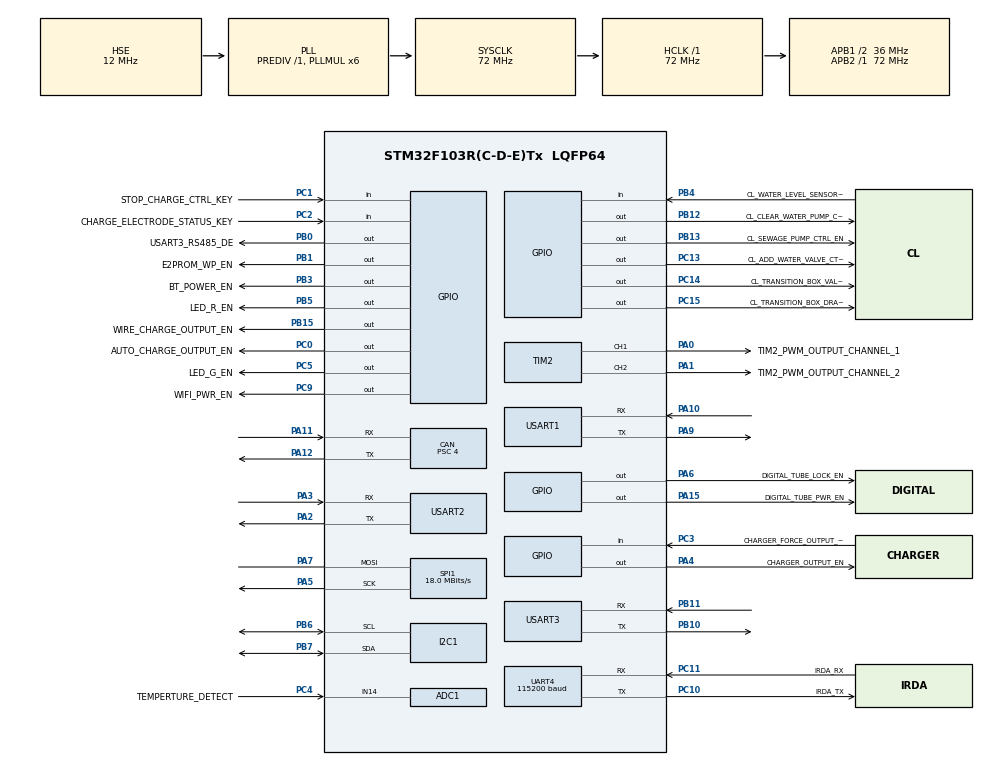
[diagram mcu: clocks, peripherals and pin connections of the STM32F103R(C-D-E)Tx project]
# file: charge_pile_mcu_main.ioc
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ADC1.Channel-0\#ChannelRegularConversion=ADC_CHANNEL_14
ADC1.NbrOfConversionFlag=1
ADC1.Rank-0\#ChannelRegularConversion=1
ADC1.SamplingTime-0\#ChannelRegularConversion=ADC_SAMPLETIME_1CYCLE_5
ADC1.master=1
CAN.BS1=CAN_BS1_9TQ
CAN.BS2=CAN_BS2_8TQ
CAN.CalculateBaudRate=500000
CAN.CalculateTimeBit=1999.99
CAN.CalculateTimeQuantum=111.11111111111111
CAN.Prescaler=4
Dma.Request0=UART4_RX
Dma.Request1=USART2_RX
Dma.Request2=USART2_TX
Dma.Request3=UART4_TX
Dma.Request4=USART3_RX
Dma.Request5=USART3_TX
Dma.UART4_RX.0.Direction=DMA_PERIPH_TO_MEMORY
Dma.UART4_RX.0.Instance=DMA2_Channel3
Dma.UART4_RX.0.MemDataAlignment=DMA_MDATAALIGN_BYTE
Dma.UART4_RX.0.MemInc=DMA_MINC_ENABLE
Dma.UART4_RX.0.Mode=DMA_CIRCULAR
Dma.UART4_RX.0.PeriphDataAlignment=DMA_PDATAALIGN_BYTE
Dma.UART4_RX.0.PeriphInc=DMA_PINC_DISABLE
Dma.UART4_RX.0.Priority=DMA_PRIORITY_VERY_HIGH
Dma.UART4_TX.3.Direction=DMA_MEMORY_TO_PERIPH
Dma.UART4_TX.3.Instance=DMA2_Channel5
Dma.UART4_TX.3.MemDataAlignment=DMA_MDATAALIGN_BYTE
Dma.UART4_TX.3.MemInc=DMA_MINC_ENABLE
Dma.UART4_TX.3.Mode=DMA_NORMAL
Dma.UART4_TX.3.PeriphDataAlignment=DMA_PDATAALIGN_BYTE
Dma.UART4_TX.3.PeriphInc=DMA_PINC_DISABLE
Dma.UART4_TX.3.Priority=DMA_PRIORITY_HIGH
Dma.USART2_RX.1.Direction=DMA_PERIPH_TO_MEMORY
Dma.USART2_RX.1.Instance=DMA1_Channel6
Dma.USART2_RX.1.MemDataAlignment=DMA_MDATAALIGN_BYTE
Dma.USART2_RX.1.MemInc=DMA_MINC_ENABLE
Dma.USART2_RX.1.Mode=DMA_NORMAL
Dma.USART2_RX.1.PeriphDataAlignment=DMA_PDATAALIGN_BYTE
Dma.USART2_RX.1.PeriphInc=DMA_PINC_DISABLE
Dma.USART2_RX.1.Priority=DMA_PRIORITY_VERY_HIGH
Dma.USART2_TX.2.Direction=DMA_MEMORY_TO_PERIPH
Dma.USART2_TX.2.Instance=DMA1_Channel7
Dma.USART2_TX.2.MemDataAlignment=DMA_MDATAALIGN_BYTE
Dma.USART2_TX.2.MemInc=DMA_MINC_ENABLE
Dma.USART2_TX.2.Mode=DMA_NORMAL
Dma.USART2_TX.2.PeriphDataAlignment=DMA_PDATAALIGN_BYTE
Dma.USART2_TX.2.PeriphInc=DMA_PINC_DISABLE
Dma.USART2_TX.2.Priority=DMA_PRIORITY_VERY_HIGH
Dma.USART3_RX.4.Direction=DMA_PERIPH_TO_MEMORY
Dma.USART3_RX.4.Instance=DMA1_Channel3
Dma.USART3_RX.4.MemDataAlignment=DMA_MDATAALIGN_BYTE
Dma.USART3_RX.4.MemInc=DMA_MINC_ENABLE
Dma.USART3_RX.4.Mode=DMA_CIRCULAR
Dma.USART3_RX.4.PeriphDataAlignment=DMA_PDATAALIGN_BYTE
Dma.USART3_RX.4.PeriphInc=DMA_PINC_DISABLE
Dma.USART3_RX.4.Priority=DMA_PRIORITY_HIGH
Dma.USART3_TX.5.Direction=DMA_MEMORY_TO_PERIPH
Dma.USART3_TX.5.Instance=DMA1_Channel2
Dma.USART3_TX.5.MemDataAlignment=DMA_MDATAALIGN_BYTE
Dma.USART3_TX.5.MemInc=DMA_MINC_ENABLE
Dma.USART3_TX.5.Mode=DMA_NORMAL
Dma.USART3_TX.5.PeriphDataAlignment=DMA_PDATAALIGN_BYTE
Dma.USART3_TX.5.PeriphInc=DMA_PINC_DISABLE
Dma.USART3_TX.5.Priority=DMA_PRIORITY_HIGH
FREERTOS.INCLUDE_xTaskGetCurrentTaskHandle=1
FREERTOS.Tasks01=defaultTask,8,1024,StartDefaultTask,As weak,NULL,Dynamic,NULL,NULL;task_charge,8,256,task_charge_run,As weak,NULL,Static,task_chargeBuffer,task_chargeControlBlock;task_led,8,256,task_led_run,As weak,NULL,Static,task_ledBuffer,task_ledControlBlock;task_digital_tu,8,256,task_digital_tube_run,As weak,NULL,Static,task_digital_tuBuffer,task_digital_tuControlBlock;task_battery,8,256,task_battery_run,As weak,NULL,Static,task_batteryBuffer,task_batteryControlBlock;task_temp,8,256,task_temp_run,As weak,NULL,Static,task_tempBuffer,task_tempControlBlock;task_shell,8,512,task_shell_run,As weak,NULL,Static,task_shellBuffer,task_shellControlBlock;task_ir_38k,8,256,task_ir_38k_run,As weak,NULL,Static,task_ir_38kBuffer,task_ir_38kControlBlock;task_key,8,256,task_key_run,As weak,NULL,Static,task_keyBuffer,task_keyControlBlock;task_workstation_clean,8,256,task_workstation_clean_run,As weak,NULL,Static,task_workstation_cleanBuffer,task_workstation_cleanControlBlock;task_test_mode,8,256,task_test_mode_run,As weak,NULL,Static,task_test_modeBuffer,task_test_modeControlBlock
FREERTOS.configGENERATE_RUN_TIME_STATS=1
FREERTOS.configMAX_TASK_NAME_LEN=32
FREERTOS.configTOTAL_HEAP_SIZE=15000
FREERTOS.configUSE_STATS_FORMATTING_FUNCTIONS=1
IWDG.Prescaler=IWDG_PRESCALER_64
IWDG.Reload=999
Mcu.Family=STM32F1
Mcu.Name=STM32F103R(C-D-E)Tx
Mcu.Package=LQFP64
NVIC.DMA1_Channel2_IRQn=true\:5\:0\:false\:false\:true\:true\:false\:true
NVIC.DMA1_Channel3_IRQn=true\:5\:0\:false\:false\:true\:true\:false\:true
NVIC.DMA1_Channel6_IRQn=true\:5\:0\:false\:false\:true\:true\:false\:true
NVIC.DMA1_Channel7_IRQn=true\:5\:0\:false\:false\:true\:true\:false\:true
NVIC.DMA2_Channel3_IRQn=true\:5\:0\:false\:false\:true\:true\:false\:true
NVIC.DMA2_Channel4_5_IRQn=true\:5\:0\:false\:false\:true\:true\:false\:true
NVIC.PriorityGroup=NVIC_PRIORITYGROUP_4
NVIC.TIM1_UP_IRQn=true\:5\:0\:false\:false\:true\:true\:true\:true
NVIC.TIM4_IRQn=true\:5\:0\:false\:false\:true\:true\:true\:true
NVIC.TIM5_IRQn=true\:15\:0\:true\:false\:true\:false\:false\:true
NVIC.TIM6_IRQn=true\:5\:0\:false\:false\:true\:true\:true\:true
NVIC.TIM7_IRQn=true\:5\:0\:false\:false\:true\:true\:true\:true
NVIC.TimeBase=TIM5_IRQn
NVIC.TimeBaseIP=TIM5
NVIC.UART4_IRQn=true\:5\:0\:false\:false\:true\:true\:true\:true
NVIC.USART1_IRQn=true\:5\:0\:false\:false\:true\:true\:true\:true
NVIC.USART2_IRQn=true\:5\:0\:false\:false\:true\:true\:true\:true
NVIC.USART3_IRQn=true\:5\:0\:false\:false\:true\:true\:true\:true
NVIC.USB_LP_CAN1_RX0_IRQn=true\:5\:0\:false\:false\:true\:true\:true\:true
PA0-WKUP.GPIO_Label=TIM2_PWM_OUTPUT_CHANNEL_1
PA0-WKUP.Signal=S_TIM2_CH1_ETR
PA1.GPIO_Label=TIM2_PWM_OUTPUT_CHANNEL_2
PA1.Signal=S_TIM2_CH2
PA10.Mode=Asynchronous
PA10.Signal=USART1_RX
PA11.Mode=CAN_Activate
PA11.Signal=CAN_RX
PA12.Mode=CAN_Activate
PA12.Signal=CAN_TX
PA13.Mode=Serial_Wire
PA13.Signal=SYS_JTMS-SWDIO
PA14.Mode=Serial_Wire
PA14.Signal=SYS_JTCK-SWCLK
PA15.GPIO_Label=DIGITAL_TUBE_PWR_EN
PA15.Signal=GPIO_Output
PA2.Mode=Asynchronous
PA2.Signal=USART2_TX
PA3.Mode=Asynchronous
PA3.Signal=USART2_RX
PA4.GPIO_Label=CHARGER_OUTPUT_EN
PA4.Signal=GPIO_Output
PA5.Mode=Simplex_Bidirectional_Master
PA5.Signal=SPI1_SCK
PA6.GPIO_Label=DIGITAL_TUBE_LOCK_EN
PA6.Signal=GPIO_Output
PA7.Mode=Simplex_Bidirectional_Master
PA7.Signal=SPI1_MOSI
PA9.Mode=Asynchronous
PA9.Signal=USART1_TX
PB0.GPIO_Label=USART3_RS485_DE
PB0.Signal=GPIO_Output
PB1.GPIO_Label=E2PROM_WP_EN
PB1.Signal=GPIO_Output
PB10.Mode=Asynchronous
PB10.Signal=USART3_TX
PB11.Mode=Asynchronous
PB11.Signal=USART3_RX
PB12.GPIO_Label=CL_CLEAR_WATER_PUMP_CTRL_EN
PB12.GPIO_PuPd=GPIO_PULLDOWN
PB12.Signal=GPIO_Output
PB13.GPIO_Label=CL_SEWAGE_PUMP_CTRL_EN
PB13.GPIO_PuPd=GPIO_PULLDOWN
PB13.Signal=GPIO_Output
PB15.GPIO_Label=WIRE_CHARGE_OUTPUT_EN
PB15.Signal=GPIO_Output
PB3.GPIO_Label=BT_POWER_EN
PB3.PinState=GPIO_PIN_SET
PB3.Signal=GPIO_Output
PB4.GPIO_Label=CL_WATER_LEVEL_SENSOR_STATUS_DETECT
PB4.GPIO_PuPd=GPIO_PULLUP
PB4.Signal=GPIO_Input
PB5.GPIO_Label=LED_R_EN
PB5.Signal=GPIO_Output
PB6.Mode=I2C
PB6.Signal=I2C1_SCL
PB7.Mode=I2C
PB7.Signal=I2C1_SDA
PC0.GPIO_Label=AUTO_CHARGE_OUTPUT_EN
PC0.PinState=GPIO_PIN_SET
PC0.Signal=GPIO_Output
PC1.GPIO_Label=STOP_CHARGE_CTRL_KEY
PC1.Signal=GPIO_Input
PC10.GPIO_Label=IRDA_TX
PC10.Mode=IrDA
PC10.Signal=UART4_TX
PC11.GPIO_Label=IRDA_RX
PC11.Mode=IrDA
PC11.Signal=UART4_RX
PC13-TAMPER-RTC.GPIO_Label=CL_ADD_WATER_VALVE_CTRL_EN
PC13-TAMPER-RTC.GPIO_PuPd=GPIO_NOPULL
PC13-TAMPER-RTC.Signal=GPIO_Output
PC14-OSC32_IN.GPIO_Label=CL_TRANSITION_BOX_VALVE_CTRLL_EN
PC14-OSC32_IN.Signal=GPIO_Output
PC15-OSC32_OUT.GPIO_Label=CL_TRANSITION_BOX_DRAINAGE_PUMP_CTRL_EN
PC15-OSC32_OUT.Signal=GPIO_Output
PC2.GPIO_Label=CHARGE_ELECTRODE_STATUS_KEY
PC2.Signal=GPIO_Input
PC3.GPIO_Label=CHARGER_FORCE_OUTPUT_KEY
PC3.Signal=GPIO_Input
PC4.GPIO_Label=TEMPERTURE_DETECT
PC4.Signal=ADCx_IN14
PC5.GPIO_Label=LED_G_EN
PC5.Signal=GPIO_Output
PC9.GPIO_Label=WIFI_PWR_EN
PC9.Signal=GPIO_Output
PD0-OSC_IN.Mode=HSE-External-Oscillator
PD0-OSC_IN.Signal=RCC_OSC_IN
PD1-OSC_OUT.Mode=HSE-External-Oscillator
PD1-OSC_OUT.Signal=RCC_OSC_OUT
ProjectManager.HeapSize=0x200
ProjectManager.StackSize=0x200
ProjectManager.TargetToolchain=Makefile
RCC.ADCPresc=RCC_ADCPCLK2_DIV6
RCC.AHBFreq_Value=72000000
RCC.APB1CLKDivider=RCC_HCLK_DIV2
RCC.APB1Freq_Value=36000000
RCC.APB1TimFreq_Value=72000000
RCC.APB2Freq_Value=72000000
RCC.APB2TimFreq_Value=72000000
RCC.HCLKFreq_Value=72000000
RCC.HSE_VALUE=12000000
RCC.PLLMUL=RCC_PLL_MUL6
RCC.PLLSourceVirtual=RCC_PLLSOURCE_HSE
RCC.SYSCLKFreq_VALUE=72000000
RCC.SYSCLKSource=RCC_SYSCLKSOURCE_PLLCLK
RCC.USBFreq_Value=72000000
RTC.Date=24
RTC.Month=RTC_MONTH_SEPTEMBER
RTC.WeekDay=RTC_WEEKDAY_FRIDAY
RTC.Year=21
SH.ADCx_IN14.0=ADC1_IN14,IN14
SH.S_TIM2_CH1_ETR.0=TIM2_CH1,PWM Generation1 CH1
SH.S_TIM2_CH2.0=TIM2_CH2,PWM Generation2 CH2
SPI1.BaudRatePrescaler=SPI_BAUDRATEPRESCALER_4
SPI1.CalculateBaudRate=18.0 MBits/s
SPI1.Direction=SPI_DIRECTION_1LINE
SPI1.Mode=SPI_MODE_MASTER
SPI1.VirtualType=VM_MASTER
TIM1.AutoReloadPreload=TIM_AUTORELOAD_PRELOAD_ENABLE
TIM1.Period=5000 - 1
TIM1.Prescaler=72 - 1
TIM2.AutoReloadPreload=TIM_AUTORELOAD_PRELOAD_ENABLE
TIM2.Channel-PWM\ Generation1\ CH1=TIM_CHANNEL_1
TIM2.Channel-PWM\ Generation2\ CH2=TIM_CHANNEL_2
TIM2.Period=((72000 / 38) - 1)
TIM2.Pulse-PWM\ Generation1\ CH1=631
TIM2.Pulse-PWM\ Generation2\ CH2=631
TIM4.AutoReloadPreload=TIM_AUTORELOAD_PRELOAD_ENABLE
TIM4.Channel-Output\ Compare1\ No\ Output=TIM_CHANNEL_1
TIM4.Channel-Output\ Compare2\ No\ Output=TIM_CHANNEL_2
TIM4.OC2Preload=DISABLE
TIM4.Period=1000
TIM4.Prescaler=72-1
TIM4.Pulse-Output\ Compare1\ No\ Output=100
TIM4.Pulse-Output\ Compare2\ No\ Output=100
TIM6.AutoReloadPreload=TIM_AUTORELOAD_PRELOAD_ENABLE
TIM6.Period=500-1
TIM6.Prescaler=72-1
TIM7.AutoReloadPreload=TIM_AUTORELOAD_PRELOAD_ENABLE
TIM7.Period=500-1
TIM7.Prescaler=72 - 1
UART4.BaudRate=115200
UART4.VirtualMode=IrDA
USART1.VirtualMode=VM_ASYNC
USART2.VirtualMode=VM_ASYNC
USART3.VirtualMode=VM_ASYNC
VP_CRC_VS_CRC.Mode=CRC_Activate
VP_FREERTOS_VS_CMSIS_V2.Mode=CMSIS_V2
VP_IWDG_VS_IWDG.Mode=IWDG_Activate
VP_RTC_No_RTC_Output.Mode=RTC_OUT_NO
VP_RTC_VS_RTC_Activate.Mode=RTC_Enabled
VP_RTC_VS_RTC_Calendar.Mode=RTC_Calendar
VP_SYS_VS_tim5.Mode=TIM5
VP_TIM1_VS_ClockSourceINT.Mode=Internal
VP_TIM4_VS_no_output1.Mode=Output Compare1 No Output
VP_TIM4_VS_no_output2.Mode=Output Compare2 No Output
VP_TIM6_VS_ClockSourceINT.Mode=Enable_Timer
VP_TIM7_VS_ClockSourceINT.Mode=Enable_Timer
board=custom

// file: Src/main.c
/* USER CODE BEGIN Header */
/**
 ******************************************************************************
 * @file           : main.c
 * @brief          : Main program body
 ******************************************************************************
 * @attention
 *
 * <h2><center>&copy; Copyright (c) 2021 STMicroelectronics.
 * All rights reserved.</center></h2>
 *
 * This software component is licensed by ST under Ultimate Liberty license
 * SLA0044, the "License"; You may not use this file except in compliance with
 * the License. You may obtain a copy of the License at:
 *                             www.st.com/SLA0044
 *
 ******************************************************************************
 */
/* USER CODE END Header */
#include "main.h"
#include "cmsis_os.h"
#include "adc.h"
#include "can.h"
#include "crc.h"
#include "dma.h"
#include "i2c.h"
#include "iwdg.h"
#include "rtc.h"
#include "spi.h"
#include "tim.h"
#include "usart.h"
#include "gpio.h"

/* USER CODE BEGIN Includes */
#include "app.h"
#include "drv_tim.h"
/* USER CODE END Includes */

void SystemClock_Config(void);
void MX_FREERTOS_Init(void);

int main(void) {

    /* MCU
     * Configuration--------------------------------------------------------*/

    /* Reset of all peripherals, Initializes the Flash interface and the
     * Systick. */
    HAL_Init();

    /* Configure the system clock */
    SystemClock_Config();

    /* USER CODE BEGIN SysInit */
#ifdef IAP
    SCB->VTOR = FLASH_BASE | 0x00008200;
    __set_FAULTMASK(0);
    __enable_irq();
#endif
    /* USER CODE END SysInit */

    /* Initialize all configured peripherals */
    MX_GPIO_Init();
    MX_DMA_Init();
    MX_ADC1_Init();
    MX_CAN_Init();
    MX_RTC_Init();
    MX_SPI1_Init();
    MX_TIM1_Init();
    MX_TIM7_Init();
    MX_UART4_IRDA_Init();
    MX_USART1_UART_Init();
    MX_CRC_Init();
    MX_I2C1_Init();
    MX_TIM2_Init();
    MX_TIM6_Init();
    MX_USART2_UART_Init();
    // MX_IWDG_Init();
    MX_TIM4_Init();
    MX_USART3_UART_Init();
    /* USER CODE BEGIN 2 */
    app_init();
    /* USER CODE END 2 */

    /* Init scheduler */
    osKernelInitialize(); /* Call init function for freertos objects (in
                             freertos.c) */
    MX_FREERTOS_Init();
    /* Start scheduler */
    osKernelStart();

    /* We should never get here as control is now taken by the scheduler */
    /* Infinite loop */
    while (1) {

    }
}

void SystemClock_Config(void) {
    RCC_OscInitTypeDef RCC_OscInitStruct = {0};
    RCC_ClkInitTypeDef RCC_ClkInitStruct = {0};
    RCC_PeriphCLKInitTypeDef PeriphClkInit = {0};

    /** Initializes the RCC Oscillators according to the specified parameters
     * in the RCC_OscInitTypeDef structure.
     */
    RCC_OscInitStruct.OscillatorType =
        RCC_OSCILLATORTYPE_LSI | RCC_OSCILLATORTYPE_HSE;
    RCC_OscInitStruct.HSEState = RCC_HSE_ON;
    RCC_OscInitStruct.HSEPredivValue = RCC_HSE_PREDIV_DIV1;
    RCC_OscInitStruct.HSIState = RCC_HSI_ON;
    RCC_OscInitStruct.LSIState = RCC_LSI_ON;
    RCC_OscInitStruct.PLL.PLLState = RCC_PLL_ON;
    RCC_OscInitStruct.PLL.PLLSource = RCC_PLLSOURCE_HSE;
    RCC_OscInitStruct.PLL.PLLMUL = RCC_PLL_MUL6;
    if (HAL_RCC_OscConfig(&RCC_OscInitStruct) != HAL_OK) {
        Error_Handler();
    }
    /** Initializes the CPU, AHB and APB buses clocks
     */
    RCC_ClkInitStruct.ClockType = RCC_CLOCKTYPE_HCLK | RCC_CLOCKTYPE_SYSCLK |
                                  RCC_CLOCKTYPE_PCLK1 | RCC_CLOCKTYPE_PCLK2;
    RCC_ClkInitStruct.SYSCLKSource = RCC_SYSCLKSOURCE_PLLCLK;
    RCC_ClkInitStruct.AHBCLKDivider = RCC_SYSCLK_DIV1;
    RCC_ClkInitStruct.APB1CLKDivider = RCC_HCLK_DIV2;
    RCC_ClkInitStruct.APB2CLKDivider = RCC_HCLK_DIV1;

    if (HAL_RCC_ClockConfig(&RCC_ClkInitStruct, FLASH_LATENCY_2) != HAL_OK) {
        Error_Handler();
    }
    PeriphClkInit.PeriphClockSelection = RCC_PERIPHCLK_RTC | RCC_PERIPHCLK_ADC;
    PeriphClkInit.RTCClockSelection = RCC_RTCCLKSOURCE_LSI;
    PeriphClkInit.AdcClockSelection = RCC_ADCPCLK2_DIV6;
    if (HAL_RCCEx_PeriphCLKConfig(&PeriphClkInit) != HAL_OK) {
        Error_Handler();
    }
}

void HAL_TIM_PeriodElapsedCallback(TIM_HandleTypeDef *htim) {
    if (htim->Instance == TIM5) {
        HAL_IncTick();
    }
    /* USER CODE BEGIN Callback 1 */
    MX_HAL_TIM_PeriodElapsedCallback(htim);
    /* USER CODE END Callback 1 */
}

void Error_Handler(void) {
    /* USER CODE BEGIN Error_Handler_Debug */
    /* User can add his own implementation to report the HAL error return state
     */
    __disable_irq();
    while (1) {}
    /* USER CODE END Error_Handler_Debug */
}

#ifdef USE_FULL_ASSERT
/**
 * @brief  Reports the name of the source file and the source line number
 *         where the assert_param error has occurred.
 * @param  file: pointer to the source file name
 * @param  line: assert_param error line source number
 * @retval None
 */
void assert_failed(uint8_t *file, uint32_t line) {
    /* USER CODE BEGIN 6 */
    /* User can add his own implementation to report the file name and line
       number, ex: printf("Wrong parameters value: file %s on line %d\r\n",
       file, line) */
    /* USER CODE END 6 */
}
#endif /* USE_FULL_ASSERT */

/************************ (C) COPYRIGHT STMicroelectronics *****END OF FILE****/

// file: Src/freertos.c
/* USER CODE BEGIN Header */
/**
 ******************************************************************************
 * File Name          : freertos.c
 * Description        : Code for freertos applications
 ******************************************************************************
 * @attention
 *
 * <h2><center>&copy; Copyright (c) 2021 STMicroelectronics.
 * All rights reserved.</center></h2>
 *
 * This software component is licensed by ST under Ultimate Liberty license
 * SLA0044, the "License"; You may not use this file except in compliance with
 * the License. You may obtain a copy of the License at:
 *                             www.st.com/SLA0044
 *
 ******************************************************************************
 */
/* USER CODE END Header */

#include "FreeRTOS.h"
#include "task.h"
#include "main.h"
#include "cmsis_os.h"

typedef StaticTask_t osStaticThreadDef_t;

/* Definitions for defaultTask */
osThreadId_t defaultTaskHandle;
const osThreadAttr_t defaultTask_attributes = {
    .name = "defaultTask",
    .stack_size = 1024 * 4,
    .priority = (osPriority_t) osPriorityLow,
};
/* Definitions for task_charge */
osThreadId_t task_chargeHandle;
uint32_t task_chargeBuffer[256];
osStaticThreadDef_t task_chargeControlBlock;
const osThreadAttr_t task_charge_attributes = {
    .name = "task_charge",
    .cb_mem = &task_chargeControlBlock,
    .cb_size = sizeof(task_chargeControlBlock),
    .stack_mem = &task_chargeBuffer[0],
    .stack_size = sizeof(task_chargeBuffer),
    .priority = (osPriority_t) osPriorityLow,
};
/* Definitions for task_led */
osThreadId_t task_ledHandle;
uint32_t task_ledBuffer[256];
osStaticThreadDef_t task_ledControlBlock;
const osThreadAttr_t task_led_attributes = {
    .name = "task_led",
    .cb_mem = &task_ledControlBlock,
    .cb_size = sizeof(task_ledControlBlock),
    .stack_mem = &task_ledBuffer[0],
    .stack_size = sizeof(task_ledBuffer),
    .priority = (osPriority_t) osPriorityLow,
};
/* Definitions for task_digital_tu */
osThreadId_t task_digital_tuHandle;
uint32_t task_digital_tuBuffer[256];
osStaticThreadDef_t task_digital_tuControlBlock;
const osThreadAttr_t task_digital_tu_attributes = {
    .name = "task_digital_tu",
    .cb_mem = &task_digital_tuControlBlock,
    .cb_size = sizeof(task_digital_tuControlBlock),
    .stack_mem = &task_digital_tuBuffer[0],
    .stack_size = sizeof(task_digital_tuBuffer),
    .priority = (osPriority_t) osPriorityLow,
};
/* Definitions for task_battery */
osThreadId_t task_batteryHandle;
uint32_t task_batteryBuffer[256];
osStaticThreadDef_t task_batteryControlBlock;
const osThreadAttr_t task_battery_attributes = {
    .name = "task_battery",
    .cb_mem = &task_batteryControlBlock,
    .cb_size = sizeof(task_batteryControlBlock),
    .stack_mem = &task_batteryBuffer[0],
    .stack_size = sizeof(task_batteryBuffer),
    .priority = (osPriority_t) osPriorityLow,
};
/* Definitions for task_temp */
osThreadId_t task_tempHandle;
uint32_t task_tempBuffer[256];
osStaticThreadDef_t task_tempControlBlock;
const osThreadAttr_t task_temp_attributes = {
    .name = "task_temp",
    .cb_mem = &task_tempControlBlock,
    .cb_size = sizeof(task_tempControlBlock),
    .stack_mem = &task_tempBuffer[0],
    .stack_size = sizeof(task_tempBuffer),
    .priority = (osPriority_t) osPriorityLow,
};
/* Definitions for task_shell */
osThreadId_t task_shellHandle;
uint32_t task_shellBuffer[512];
osStaticThreadDef_t task_shellControlBlock;
const osThreadAttr_t task_shell_attributes = {
    .name = "task_shell",
    .cb_mem = &task_shellControlBlock,
    .cb_size = sizeof(task_shellControlBlock),
    .stack_mem = &task_shellBuffer[0],
    .stack_size = sizeof(task_shellBuffer),
    .priority = (osPriority_t) osPriorityLow,
};
/* Definitions for task_ir_38k */
osThreadId_t task_ir_38kHandle;
uint32_t task_ir_38kBuffer[256];
osStaticThreadDef_t task_ir_38kControlBlock;
const osThreadAttr_t task_ir_38k_attributes = {
    .name = "task_ir_38k",
    .cb_mem = &task_ir_38kControlBlock,
    .cb_size = sizeof(task_ir_38kControlBlock),
    .stack_mem = &task_ir_38kBuffer[0],
    .stack_size = sizeof(task_ir_38kBuffer),
    .priority = (osPriority_t) osPriorityLow,
};
/* Definitions for task_key */
osThreadId_t task_keyHandle;
uint32_t task_keyBuffer[256];
osStaticThreadDef_t task_keyControlBlock;
const osThreadAttr_t task_key_attributes = {
    .name = "task_key",
    .cb_mem = &task_keyControlBlock,
    .cb_size = sizeof(task_keyControlBlock),
    .stack_mem = &task_keyBuffer[0],
    .stack_size = sizeof(task_keyBuffer),
    .priority = (osPriority_t) osPriorityLow,
};
/* Definitions for task_workstation_clean */
osThreadId_t task_workstation_cleanHandle;
uint32_t task_workstation_cleanBuffer[256];
osStaticThreadDef_t task_workstation_cleanControlBlock;
const osThreadAttr_t task_workstation_clean_attributes = {
    .name = "task_workstation_clean",
    .cb_mem = &task_workstation_cleanControlBlock,
    .cb_size = sizeof(task_workstation_cleanControlBlock),
    .stack_mem = &task_workstation_cleanBuffer[0],
    .stack_size = sizeof(task_workstation_cleanBuffer),
    .priority = (osPriority_t) osPriorityLow,
};
/* Definitions for task_test_mode */
osThreadId_t task_test_modeHandle;
uint32_t task_test_modeBuffer[256];
osStaticThreadDef_t task_test_modeControlBlock;
const osThreadAttr_t task_test_mode_attributes = {
    .name = "task_test_mode",
    .cb_mem = &task_test_modeControlBlock,
    .cb_size = sizeof(task_test_modeControlBlock),
    .stack_mem = &task_test_modeBuffer[0],
    .stack_size = sizeof(task_test_modeBuffer),
    .priority = (osPriority_t) osPriorityLow,
};

void StartDefaultTask(void *argument);
void task_charge_run(void *argument);
void task_led_run(void *argument);
void task_digital_tube_run(void *argument);
void task_battery_run(void *argument);
void task_temp_run(void *argument);
void task_shell_run(void *argument);
void task_ir_38k_run(void *argument);
void task_key_run(void *argument);
void task_workstation_clean_run(void *argument);
void task_test_mode_run(void *argument);

void MX_FREERTOS_Init(void); /* (MISRA C 2004 rule 8.1) */

/* Hook prototypes */
void configureTimerForRunTimeStats(void);
unsigned long getRunTimeCounterValue(void);

/* USER CODE BEGIN 1 */
/* Functions needed when configGENERATE_RUN_TIME_STATS is on */
__weak void configureTimerForRunTimeStats(void) {}

__weak unsigned long getRunTimeCounterValue(void) {
    return 0;
}
/* USER CODE END 1 */

void MX_FREERTOS_Init(void) {

    /* Create the thread(s) */
    /* creation of defaultTask */
    defaultTaskHandle =
        osThreadNew(StartDefaultTask, NULL, &defaultTask_attributes);

    /* creation of task_charge */
    task_chargeHandle =
        osThreadNew(task_charge_run, NULL, &task_charge_attributes);

    /* creation of task_led */
    task_ledHandle = osThreadNew(task_led_run, NULL, &task_led_attributes);

    /* creation of task_digital_tu */
    task_digital_tuHandle =
        osThreadNew(task_digital_tube_run, NULL, &task_digital_tu_attributes);

    /* creation of task_battery */
    task_batteryHandle =
        osThreadNew(task_battery_run, NULL, &task_battery_attributes);

    /* creation of task_temp */
    task_tempHandle = osThreadNew(task_temp_run, NULL, &task_temp_attributes);

    /* creation of task_shell */
    task_shellHandle =
        osThreadNew(task_shell_run, NULL, &task_shell_attributes);

    /* creation of task_ir_38k */
    task_ir_38kHandle =
        osThreadNew(task_ir_38k_run, NULL, &task_ir_38k_attributes);

    /* creation of task_key */
    task_keyHandle = osThreadNew(task_key_run, NULL, &task_key_attributes);

    /* creation of task_workstation_clean */
    task_workstation_cleanHandle = osThreadNew(
        task_workstation_clean_run, NULL, &task_workstation_clean_attributes);

    /* creation of task_test_mode */
    task_test_modeHandle =
        osThreadNew(task_test_mode_run, NULL, &task_test_mode_attributes);

}

__weak void StartDefaultTask(void *argument) {
    /* USER CODE BEGIN StartDefaultTask */
    /* Infinite loop */
    for (;;) { osDelay(1); }
    /* USER CODE END StartDefaultTask */
}

__weak void task_charge_run(void *argument) {
    /* USER CODE BEGIN task_charge_run */
    /* Infinite loop */
    for (;;) { osDelay(1); }
    /* USER CODE END task_charge_run */
}

__weak void task_led_run(void *argument) {
    /* USER CODE BEGIN task_led_run */
    /* Infinite loop */
    for (;;) { osDelay(1); }
    /* USER CODE END task_led_run */
}

__weak void task_digital_tube_run(void *argument) {
    /* USER CODE BEGIN task_digital_tube_run */
    /* Infinite loop */
    for (;;) { osDelay(1); }
    /* USER CODE END task_digital_tube_run */
}

__weak void task_battery_run(void *argument) {
    /* USER CODE BEGIN task_battery_run */
    /* Infinite loop */
    for (;;) { osDelay(1); }
    /* USER CODE END task_battery_run */
}

__weak void task_temp_run(void *argument) {
    /* USER CODE BEGIN task_temp_run */
    /* Infinite loop */
    for (;;) { osDelay(1); }
    /* USER CODE END task_temp_run */
}

__weak void task_shell_run(void *argument) {
    /* USER CODE BEGIN task_shell_run */
    /* Infinite loop */
    for (;;) { osDelay(1); }
    /* USER CODE END task_shell_run */
}

__weak void task_ir_38k_run(void *argument) {
    /* USER CODE BEGIN task_ir_38k_run */
    /* Infinite loop */
    for (;;) { osDelay(1); }
    /* USER CODE END task_ir_38k_run */
}

__weak void task_key_run(void *argument) {
    /* USER CODE BEGIN task_key_run */
    /* Infinite loop */
    for (;;) { osDelay(1); }
    /* USER CODE END task_key_run */
}

__weak void task_workstation_clean_run(void *argument) {
    /* USER CODE BEGIN task_workstation_clean_run */
    /* Infinite loop */
    for (;;) { osDelay(1); }
    /* USER CODE END task_workstation_clean_run */
}

__weak void task_test_mode_run(void *argument) {
    /* USER CODE BEGIN task_test_mode_run */
    /* Infinite loop */
    for (;;) { osDelay(1); }
    /* USER CODE END task_test_mode_run */
}

/************************ (C) COPYRIGHT STMicroelectronics *****END OF FILE****/
